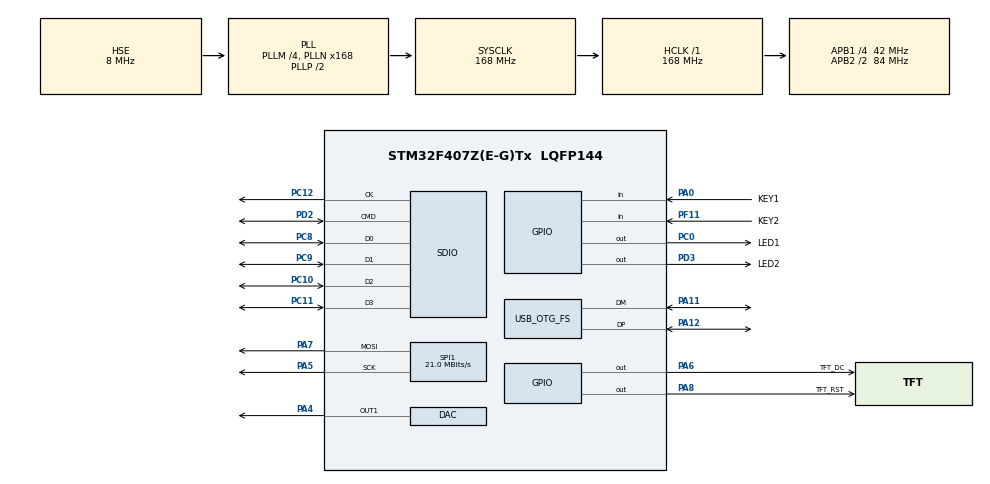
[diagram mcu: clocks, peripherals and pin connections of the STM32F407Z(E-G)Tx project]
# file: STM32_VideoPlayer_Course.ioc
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DAC.DAC_Trigger=DAC_TRIGGER_T6_TRGO
Dma.DAC1.2.Direction=DMA_MEMORY_TO_PERIPH
Dma.DAC1.2.FIFOMode=DMA_FIFOMODE_DISABLE
Dma.DAC1.2.Instance=DMA1_Stream5
Dma.DAC1.2.MemDataAlignment=DMA_MDATAALIGN_HALFWORD
Dma.DAC1.2.MemInc=DMA_MINC_ENABLE
Dma.DAC1.2.Mode=DMA_CIRCULAR
Dma.DAC1.2.PeriphDataAlignment=DMA_PDATAALIGN_HALFWORD
Dma.DAC1.2.PeriphInc=DMA_PINC_DISABLE
Dma.DAC1.2.Priority=DMA_PRIORITY_LOW
Dma.Request0=SDIO
Dma.Request1=SPI1_TX
Dma.Request2=DAC1
Dma.SDIO.0.Direction=DMA_PERIPH_TO_MEMORY
Dma.SDIO.0.FIFOMode=DMA_FIFOMODE_ENABLE
Dma.SDIO.0.FIFOThreshold=DMA_FIFO_THRESHOLD_FULL
Dma.SDIO.0.Instance=DMA2_Stream3
Dma.SDIO.0.MemBurst=DMA_MBURST_INC4
Dma.SDIO.0.MemDataAlignment=DMA_MDATAALIGN_WORD
Dma.SDIO.0.MemInc=DMA_MINC_ENABLE
Dma.SDIO.0.Mode=DMA_PFCTRL
Dma.SDIO.0.PeriphBurst=DMA_PBURST_INC4
Dma.SDIO.0.PeriphDataAlignment=DMA_PDATAALIGN_WORD
Dma.SDIO.0.PeriphInc=DMA_PINC_DISABLE
Dma.SDIO.0.Priority=DMA_PRIORITY_LOW
Dma.SPI1_TX.1.Direction=DMA_MEMORY_TO_PERIPH
Dma.SPI1_TX.1.FIFOMode=DMA_FIFOMODE_DISABLE
Dma.SPI1_TX.1.Instance=DMA2_Stream5
Dma.SPI1_TX.1.MemDataAlignment=DMA_MDATAALIGN_BYTE
Dma.SPI1_TX.1.MemInc=DMA_MINC_ENABLE
Dma.SPI1_TX.1.Mode=DMA_NORMAL
Dma.SPI1_TX.1.PeriphDataAlignment=DMA_PDATAALIGN_BYTE
Dma.SPI1_TX.1.PeriphInc=DMA_PINC_DISABLE
Dma.SPI1_TX.1.Priority=DMA_PRIORITY_LOW
FATFS.USE_DMA_CODE_SD=0
FATFS._FS_RPATH=2
FATFS._USE_LFN=0
FATFS._USE_MKFS=0
Mcu.Family=STM32F4
Mcu.Name=STM32F407Z(E-G)Tx
Mcu.Package=LQFP144
NVIC.DMA1_Stream5_IRQn=true\:0\:0\:false\:false\:true\:false\:true\:true
NVIC.DMA2_Stream3_IRQn=true\:0\:0\:false\:false\:true\:false\:true\:true
NVIC.DMA2_Stream5_IRQn=true\:0\:0\:false\:false\:true\:false\:true\:true
NVIC.OTG_FS_IRQn=true\:0\:0\:false\:false\:true\:false\:true\:true
NVIC.PriorityGroup=NVIC_PRIORITYGROUP_4
NVIC.TIM6_DAC_IRQn=true\:0\:0\:false\:false\:true\:true\:true\:true
PA0-WKUP.GPIO_Label=KEY1
PA0-WKUP.GPIO_PuPd=GPIO_PULLDOWN
PA0-WKUP.Signal=GPIO_Input
PA11.Mode=Device_Only
PA11.Signal=USB_OTG_FS_DM
PA12.Mode=Device_Only
PA12.Signal=USB_OTG_FS_DP
PA13.Mode=Trace_Asynchronous_SW
PA13.Signal=SYS_JTMS-SWDIO
PA14.Mode=Trace_Asynchronous_SW
PA14.Signal=SYS_JTCK-SWCLK
PA4.Signal=COMP_DAC1_group
PA5.Mode=TX_Only_Simplex_Unidirect_Master
PA5.Signal=SPI1_SCK
PA6.GPIO_Label=TFT_DC
PA6.Signal=GPIO_Output
PA7.Mode=TX_Only_Simplex_Unidirect_Master
PA7.Signal=SPI1_MOSI
PA8.GPIO_Label=TFT_RST
PA8.Signal=GPIO_Output
PB3.Mode=Trace_Asynchronous_SW
PB3.Signal=SYS_JTDO-SWO
PC0.GPIO_Label=LED1
PC0.Signal=GPIO_Output
PC10.Mode=SD_4_bits_Wide_bus
PC10.Signal=SDIO_D2
PC11.Mode=SD_4_bits_Wide_bus
PC11.Signal=SDIO_D3
PC12.GPIO_PuPd=GPIO_NOPULL
PC12.Mode=SD_4_bits_Wide_bus
PC12.Signal=SDIO_CK
PC8.GPIO_PuPd=GPIO_NOPULL
PC8.Mode=SD_4_bits_Wide_bus
PC8.Signal=SDIO_D0
PC9.Mode=SD_4_bits_Wide_bus
PC9.Signal=SDIO_D1
PD2.GPIO_PuPd=GPIO_NOPULL
PD2.Mode=SD_4_bits_Wide_bus
PD2.Signal=SDIO_CMD
PD3.GPIO_Label=LED2
PD3.Signal=GPIO_Output
PF11.GPIO_Label=KEY2
PF11.GPIO_PuPd=GPIO_PULLDOWN
PF11.Signal=GPIO_Input
PH0-OSC_IN.Mode=HSE-External-Oscillator
PH0-OSC_IN.Signal=RCC_OSC_IN
PH1-OSC_OUT.Mode=HSE-External-Oscillator
PH1-OSC_OUT.Signal=RCC_OSC_OUT
ProjectManager.HeapSize=0x200
ProjectManager.StackSize=0x400
ProjectManager.TargetToolchain=STM32CubeIDE
RCC.48MHZClocksFreq_Value=48000000
RCC.AHBFreq_Value=168000000
RCC.APB1CLKDivider=RCC_HCLK_DIV4
RCC.APB1Freq_Value=42000000
RCC.APB1TimFreq_Value=84000000
RCC.APB2CLKDivider=RCC_HCLK_DIV2
RCC.APB2Freq_Value=84000000
RCC.APB2TimFreq_Value=168000000
RCC.CortexFreq_Value=168000000
RCC.HCLKFreq_Value=168000000
RCC.HSE_VALUE=8000000
RCC.HSI_VALUE=16000000
RCC.LSE_VALUE=32768
RCC.PLLM=4
RCC.PLLN=168
RCC.PLLQ=7
RCC.SYSCLKFreq_VALUE=168000000
RCC.SYSCLKSource=RCC_SYSCLKSOURCE_PLLCLK
RCC.VCOOutputFreq_Value=336000000
SDIO.ClockDiv=1
SH.COMP_DAC1_group.0=DAC_OUT1,DAC_OUT1
SPI1.BaudRatePrescaler=SPI_BAUDRATEPRESCALER_4
SPI1.CalculateBaudRate=21.0 MBits/s
SPI1.DataSize=SPI_DATASIZE_8BIT
SPI1.Direction=SPI_DIRECTION_2LINES
SPI1.Mode=SPI_MODE_MASTER
SPI1.VirtualType=VM_MASTER
TIM6.Period=350
TIM6.Prescaler=4
TIM6.TIM_MasterOutputTrigger=TIM_TRGO_UPDATE
USB_DEVICE.CLASS_NAME_FS=MSC
USB_DEVICE.VirtualMode-MSC_FS=Msc
USB_DEVICE.VirtualModeFS=Msc_FS
USB_OTG_FS.VirtualMode=Device_Only
VP_FATFS_VS_SDIO.Mode=SDIO
VP_TIM6_VS_ClockSourceINT.Mode=Enable_Timer
VP_USB_DEVICE_VS_USB_DEVICE_MSC_FS.Mode=MSC_FS
board=custom

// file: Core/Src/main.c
/* USER CODE BEGIN Header */
/**
  ******************************************************************************
  * @file           : main.c
  * @brief          : Main program body
  ******************************************************************************
  * @attention
  *
  * Copyright (c) 2022 STMicroelectronics.
  * All rights reserved.
  *
  * This software is licensed under terms that can be found in the LICENSE file
  * in the root directory of this software component.
  * If no LICENSE file comes with this software, it is provided AS-IS.
  *
  ******************************************************************************
  */
/* USER CODE END Header */
#include "main.h"
#include "fatfs.h"
#include "usb_device.h"

/* USER CODE BEGIN Includes */

#include "st7735.h"
#include "fonts.h"

/* USER CODE END Includes */

DAC_HandleTypeDef hdac;
DMA_HandleTypeDef hdma_dac1;

SD_HandleTypeDef hsd;
DMA_HandleTypeDef hdma_sdio;

SPI_HandleTypeDef hspi1;
DMA_HandleTypeDef hdma_spi1_tx;

TIM_HandleTypeDef htim6;

/* USER CODE BEGIN PV */
signed short samples[MINIMP3_MAX_SAMPLES_PER_FRAME];
uint16_t samples_DMA[DMA_BUFFER_SIZE];

uint8_t audioPlaying;
uint8_t spiTransmitComplete = 1;
uint32_t dmaLoopsCompleted;
/* USER CODE END PV */

void SystemClock_Config(void);
static void MX_GPIO_Init(void);
static void MX_DMA_Init(void);
static void MX_SDIO_SD_Init(void);
static void MX_SPI1_Init(void);
static void MX_DAC_Init(void);
static void MX_TIM6_Init(void);

int main(void)
{

  /* MCU Configuration--------------------------------------------------------*/

  /* Reset of all peripherals, Initializes the Flash interface and the Systick. */
  HAL_Init();

  /* Configure the system clock */
  SystemClock_Config();

  /* Initialize all configured peripherals */
  MX_GPIO_Init();
  MX_DMA_Init();
  MX_SDIO_SD_Init();
  MX_SPI1_Init();
  MX_DAC_Init();
  MX_TIM6_Init();
  /* USER CODE BEGIN 2 */

  cpp_main();

  /* USER CODE END 2 */

  /* Infinite loop */
  while (1)
  {

  }
}

void SystemClock_Config(void)
{
  RCC_OscInitTypeDef RCC_OscInitStruct = {0};
  RCC_ClkInitTypeDef RCC_ClkInitStruct = {0};

  /** Configure the main internal regulator output voltage
  */
  __HAL_RCC_PWR_CLK_ENABLE();
  __HAL_PWR_VOLTAGESCALING_CONFIG(PWR_REGULATOR_VOLTAGE_SCALE1);

  /** Initializes the RCC Oscillators according to the specified parameters
  * in the RCC_OscInitTypeDef structure.
  */
  RCC_OscInitStruct.OscillatorType = RCC_OSCILLATORTYPE_HSE;
  RCC_OscInitStruct.HSEState = RCC_HSE_ON;
  RCC_OscInitStruct.PLL.PLLState = RCC_PLL_ON;
  RCC_OscInitStruct.PLL.PLLSource = RCC_PLLSOURCE_HSE;
  RCC_OscInitStruct.PLL.PLLM = 4;
  RCC_OscInitStruct.PLL.PLLN = 168;
  RCC_OscInitStruct.PLL.PLLP = RCC_PLLP_DIV2;
  RCC_OscInitStruct.PLL.PLLQ = 7;
  if (HAL_RCC_OscConfig(&RCC_OscInitStruct) != HAL_OK)
  {
    Error_Handler();
  }

  /** Initializes the CPU, AHB and APB buses clocks
  */
  RCC_ClkInitStruct.ClockType = RCC_CLOCKTYPE_HCLK|RCC_CLOCKTYPE_SYSCLK
                              |RCC_CLOCKTYPE_PCLK1|RCC_CLOCKTYPE_PCLK2;
  RCC_ClkInitStruct.SYSCLKSource = RCC_SYSCLKSOURCE_PLLCLK;
  RCC_ClkInitStruct.AHBCLKDivider = RCC_SYSCLK_DIV1;
  RCC_ClkInitStruct.APB1CLKDivider = RCC_HCLK_DIV4;
  RCC_ClkInitStruct.APB2CLKDivider = RCC_HCLK_DIV2;

  if (HAL_RCC_ClockConfig(&RCC_ClkInitStruct, FLASH_LATENCY_5) != HAL_OK)
  {
    Error_Handler();
  }
}

static void MX_DAC_Init(void)
{

  DAC_ChannelConfTypeDef sConfig = {0};

  /** DAC Initialization
  */
  hdac.Instance = DAC;
  if (HAL_DAC_Init(&hdac) != HAL_OK)
  {
    Error_Handler();
  }

  /** DAC channel OUT1 config
  */
  sConfig.DAC_Trigger = DAC_TRIGGER_T6_TRGO;
  sConfig.DAC_OutputBuffer = DAC_OUTPUTBUFFER_ENABLE;
  if (HAL_DAC_ConfigChannel(&hdac, &sConfig, DAC_CHANNEL_1) != HAL_OK)
  {
    Error_Handler();
  }

}

static void MX_SDIO_SD_Init(void)
{

  hsd.Instance = SDIO;
  hsd.Init.ClockEdge = SDIO_CLOCK_EDGE_RISING;
  hsd.Init.ClockBypass = SDIO_CLOCK_BYPASS_DISABLE;
  hsd.Init.ClockPowerSave = SDIO_CLOCK_POWER_SAVE_DISABLE;
  hsd.Init.BusWide = SDIO_BUS_WIDE_1B;
  hsd.Init.HardwareFlowControl = SDIO_HARDWARE_FLOW_CONTROL_DISABLE;
  hsd.Init.ClockDiv = 1;

}

static void MX_SPI1_Init(void)
{

  /* SPI1 parameter configuration*/
  hspi1.Instance = SPI1;
  hspi1.Init.Mode = SPI_MODE_MASTER;
  hspi1.Init.Direction = SPI_DIRECTION_2LINES;
  hspi1.Init.DataSize = SPI_DATASIZE_8BIT;
  hspi1.Init.CLKPolarity = SPI_POLARITY_LOW;
  hspi1.Init.CLKPhase = SPI_PHASE_1EDGE;
  hspi1.Init.NSS = SPI_NSS_SOFT;
  hspi1.Init.BaudRatePrescaler = SPI_BAUDRATEPRESCALER_4;
  hspi1.Init.FirstBit = SPI_FIRSTBIT_MSB;
  hspi1.Init.TIMode = SPI_TIMODE_DISABLE;
  hspi1.Init.CRCCalculation = SPI_CRCCALCULATION_DISABLE;
  hspi1.Init.CRCPolynomial = 10;
  if (HAL_SPI_Init(&hspi1) != HAL_OK)
  {
    Error_Handler();
  }

}

static void MX_TIM6_Init(void)
{

  TIM_MasterConfigTypeDef sMasterConfig = {0};

  htim6.Instance = TIM6;
  htim6.Init.Prescaler = 4;
  htim6.Init.CounterMode = TIM_COUNTERMODE_UP;
  htim6.Init.Period = 350;
  htim6.Init.AutoReloadPreload = TIM_AUTORELOAD_PRELOAD_DISABLE;
  if (HAL_TIM_Base_Init(&htim6) != HAL_OK)
  {
    Error_Handler();
  }
  sMasterConfig.MasterOutputTrigger = TIM_TRGO_UPDATE;
  sMasterConfig.MasterSlaveMode = TIM_MASTERSLAVEMODE_DISABLE;
  if (HAL_TIMEx_MasterConfigSynchronization(&htim6, &sMasterConfig) != HAL_OK)
  {
    Error_Handler();
  }

}

static void MX_DMA_Init(void)
{

  /* DMA controller clock enable */
  __HAL_RCC_DMA2_CLK_ENABLE();
  __HAL_RCC_DMA1_CLK_ENABLE();

  /* DMA interrupt init */
  /* DMA1_Stream5_IRQn interrupt configuration */
  HAL_NVIC_SetPriority(DMA1_Stream5_IRQn, 0, 0);
  HAL_NVIC_EnableIRQ(DMA1_Stream5_IRQn);
  /* DMA2_Stream3_IRQn interrupt configuration */
  HAL_NVIC_SetPriority(DMA2_Stream3_IRQn, 0, 0);
  HAL_NVIC_EnableIRQ(DMA2_Stream3_IRQn);
  /* DMA2_Stream5_IRQn interrupt configuration */
  HAL_NVIC_SetPriority(DMA2_Stream5_IRQn, 0, 0);
  HAL_NVIC_EnableIRQ(DMA2_Stream5_IRQn);

}

static void MX_GPIO_Init(void)
{
  GPIO_InitTypeDef GPIO_InitStruct = {0};

  /* GPIO Ports Clock Enable */
  __HAL_RCC_GPIOH_CLK_ENABLE();
  __HAL_RCC_GPIOC_CLK_ENABLE();
  __HAL_RCC_GPIOA_CLK_ENABLE();
  __HAL_RCC_GPIOF_CLK_ENABLE();
  __HAL_RCC_GPIOD_CLK_ENABLE();
  __HAL_RCC_GPIOB_CLK_ENABLE();

  /*Configure GPIO pin Output Level */
  HAL_GPIO_WritePin(LED1_GPIO_Port, LED1_Pin, GPIO_PIN_RESET);

  /*Configure GPIO pin Output Level */
  HAL_GPIO_WritePin(GPIOA, TFT_DC_Pin|TFT_RST_Pin, GPIO_PIN_RESET);

  /*Configure GPIO pin Output Level */
  HAL_GPIO_WritePin(LED2_GPIO_Port, LED2_Pin, GPIO_PIN_RESET);

  /*Configure GPIO pin : LED1_Pin */
  GPIO_InitStruct.Pin = LED1_Pin;
  GPIO_InitStruct.Mode = GPIO_MODE_OUTPUT_PP;
  GPIO_InitStruct.Pull = GPIO_NOPULL;
  GPIO_InitStruct.Speed = GPIO_SPEED_FREQ_LOW;
  HAL_GPIO_Init(LED1_GPIO_Port, &GPIO_InitStruct);

  /*Configure GPIO pin : KEY1_Pin */
  GPIO_InitStruct.Pin = KEY1_Pin;
  GPIO_InitStruct.Mode = GPIO_MODE_INPUT;
  GPIO_InitStruct.Pull = GPIO_PULLDOWN;
  HAL_GPIO_Init(KEY1_GPIO_Port, &GPIO_InitStruct);

  /*Configure GPIO pins : TFT_DC_Pin TFT_RST_Pin */
  GPIO_InitStruct.Pin = TFT_DC_Pin|TFT_RST_Pin;
  GPIO_InitStruct.Mode = GPIO_MODE_OUTPUT_PP;
  GPIO_InitStruct.Pull = GPIO_NOPULL;
  GPIO_InitStruct.Speed = GPIO_SPEED_FREQ_LOW;
  HAL_GPIO_Init(GPIOA, &GPIO_InitStruct);

  /*Configure GPIO pin : KEY2_Pin */
  GPIO_InitStruct.Pin = KEY2_Pin;
  GPIO_InitStruct.Mode = GPIO_MODE_INPUT;
  GPIO_InitStruct.Pull = GPIO_PULLDOWN;
  HAL_GPIO_Init(KEY2_GPIO_Port, &GPIO_InitStruct);

  /*Configure GPIO pin : LED2_Pin */
  GPIO_InitStruct.Pin = LED2_Pin;
  GPIO_InitStruct.Mode = GPIO_MODE_OUTPUT_PP;
  GPIO_InitStruct.Pull = GPIO_NOPULL;
  GPIO_InitStruct.Speed = GPIO_SPEED_FREQ_LOW;
  HAL_GPIO_Init(LED2_GPIO_Port, &GPIO_InitStruct);

}

/* USER CODE BEGIN 4 */

void HAL_SPI_TxCpltCallback(SPI_HandleTypeDef * hspi)
{
    spiTransmitComplete = 1;
}

void HAL_DAC_ConvCpltCallbackCh1(DAC_HandleTypeDef* hdma)
{
    dmaLoopsCompleted++;
}

void HAL_DAC_ErrorCallbackCh1(DAC_HandleTypeDef* hdma)
{

    ST7735_SetAddressWindow(0, 0, 160, 128);
    ST7735_WriteString(0, 0, "DAC Error!", Font_7x10, ST7735_WHITE, ST7735_BLACK);

    while(1);
}

/* USER CODE END 4 */

void Error_Handler(void)
{
  __disable_irq();
  while (1)
  {
  }
}
